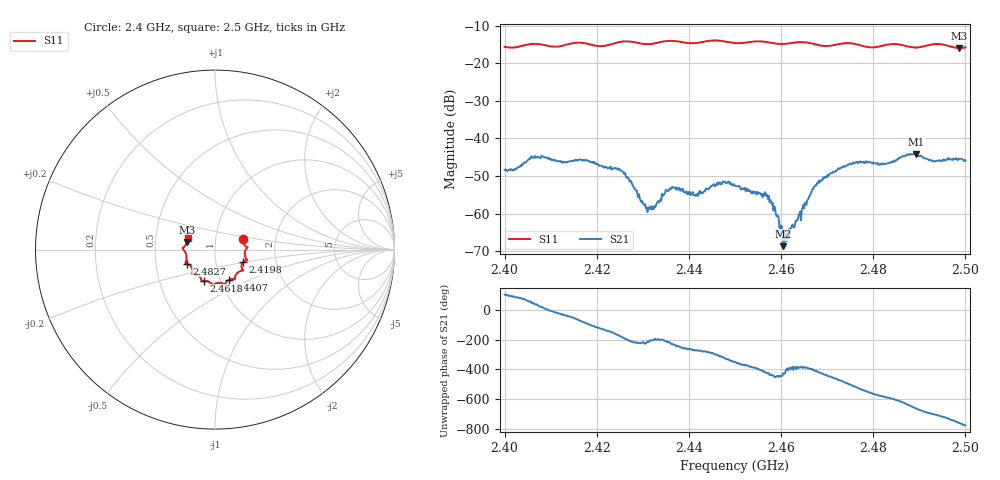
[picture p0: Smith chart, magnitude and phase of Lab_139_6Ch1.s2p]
# Hz S RI R 50
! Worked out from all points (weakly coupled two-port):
!   601 points, 2.4 GHz to 2.5 GHz, reference 50 ohm
!   highest |S21| = -44.13 dB at 2.4893 GHz (marker M1); lowest = -68.7 dB at 2.4605 GHz (marker M2)
!   lowest |S11| = -15.9 dB at 2.4987 GHz (marker M3), VSWR 1.38, Z = 36.5 + j3.23 ohm
!   |S11| at or under -10 dB: start of sweep to end of sweep
!   S12 and S22 are empty: the file has one direction only
!   S11 on the Smith chart (normalised r, x): 2.4 GHz: 1.35, +0.17; 2.4198 GHz: 1.36, -0.19; 2.4407 GHz: 1.10, -0.38; 2.4618 GHz: 0.83, -0.30; 2.4827 GHz: 0.72, -0.12; 2.5 GHz: 0.73, +0.09
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2.4e9  0.1546 0.0613  -0.00108 0.00366  0 0  0 0
2.406333e9  0.1815 0.0129  0.00379 0.00398  0 0  0 0
2.416667e9  0.1788 -0.0586  0.00143 -0.00498  0 0  0 0
2.419833e9  0.1576 -0.0678  -0.00179 -0.00416  0 0  0 0
2.425667e9  0.1573 -0.1161  -0.00358 0.000343  0 0  0 0
2.431167e9  0.1227 -0.1324  -0.000916 0.000648  0 0  0 0
2.433333e9  0.1116 -0.1529  -0.00142 0.000373  0 0  0 0
2.436333e9  0.111 -0.166  -0.00152 0.00159  0 0  0 0
2.440667e9  0.0793 -0.1674  -6.56e-05 0.0018  0 0  0 0
2.447e9  0.0496 -0.193  0.00167 0.00186  0 0  0 0
2.45e9  0.0266 -0.1848  0.00229 0.000486  0 0  0 0
2.456833e9  -0.0165 -0.1921  0.0008 -0.00162  0 0  0 0
2.459e9  -0.032 -0.1801  1.1e-05 -0.000927  0 0  0 0
2.4605e9  -0.0477 -0.1752  0.000158 -0.000332  0 0  0 0
2.461833e9  -0.0616 -0.1749  0.00049 -0.000383  0 0  0 0
2.466667e9  -0.0758 -0.1681  0.00153 -0.00127  0 0  0 0
2.474667e9  -0.1269 -0.1362  -0.00342 -0.00292  0 0  0 0
2.482667e9  -0.1579 -0.0777  -0.00316 0.00332  0 0  0 0
2.483333e9  -0.1617 -0.0768  -0.00294 0.0037  0 0  0 0
2.489333e9  -0.1598 -0.0304  0.00353 0.00511  0 0  0 0
2.498667e9  -0.154 0.0431  0.00399 -0.00354  0 0  0 0
2.5e9  -0.1509 0.063  0.00262 -0.00432  0 0  0 0
